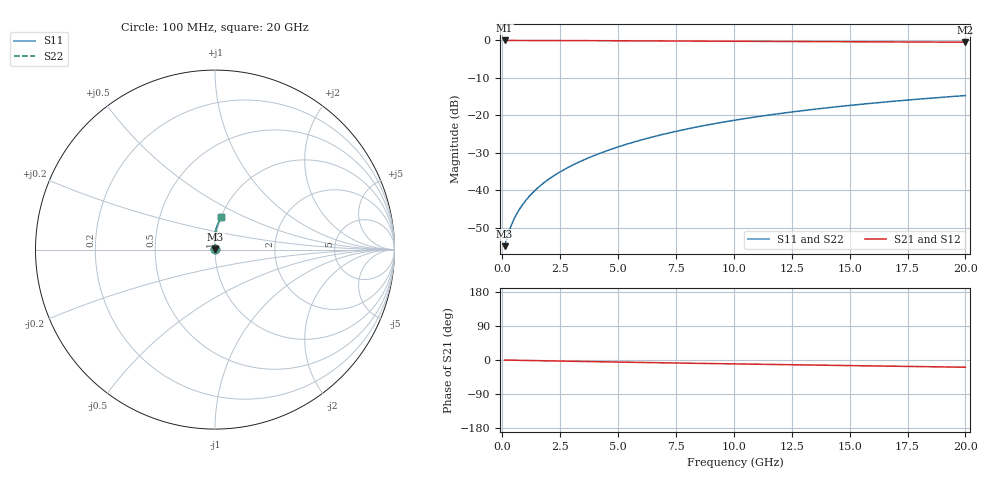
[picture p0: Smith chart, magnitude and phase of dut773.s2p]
! Touchstone file exported from HFSS 2024.1.0
!  File:  C:/UserFiles/LocalFiles/RDL_TSV_Batchsim/temp_RDL_bottom_773_1779860729.aedt
!  Generated:  01:48:12 PM May 27, 2026
!  Design:  RDL_bottom
!  Project:  temp_RDL_bottom_773_1779860729
!  Setup:  Setup1
!  Solution:  Sweep
! Variables:
!  dtsv = 10.80580581um
!  hbump = 3um
!  htsv = 72.25um
!  ldown = 248.68um
!  lrdl = 100um
!  p = 40
!  p1 = 52.08um
!  rhole = 1um
!  t = 450um
!  tdown = 2.45um
!  trdl = 3.915915916um
!  wdown = 29.21um
!  wrdl = 20um
# GHz S MA R 50.000000
! Terminal data exported
! Port[1] = RDL1_T1
! Port[2] = RDL1_T2
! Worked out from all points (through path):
!   200 points, 100 MHz to 20 GHz, reference 50 ohm
!   highest |S21| = -0.01 dB at 100 MHz (marker M1); lowest = -0.5 dB at 20 GHz (marker M2)
!   group delay of S21, straight-line fit = 2.61 ps
!   lowest |S11| = -54.9 dB at 100 MHz (marker M3), VSWR 1.00, Z = 50.2 + j0.0801 ohm
!   |S11| at or under -10 dB: start of sweep to end of sweep
!   |S22| runs from -54.9 to -14.7 dB; largest |S21 - S12| = 2.1e-15
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0.1  0.001801 26.3  0.9984 -0.1  0.9984 -0.1  0.001801 26.3
! Gamma 0 0 0 0
! Port Impedance 50 0 50 0
0.3  0.002879 52.7  0.9982 -0.4  0.9982 -0.4  0.002879 52.7
0.4  0.003486 58.9  0.9981 -0.5  0.9981 -0.5  0.003486 58.9
0.5  0.004099 63.3  0.998 -0.6  0.998 -0.6  0.004099 63.3
0.6  0.004717 66.8  0.9979 -0.7  0.9979 -0.7  0.004717 66.8
0.8  0.005971 71.9  0.9977 -0.9  0.9977 -0.9  0.005971 71.9
1  0.007254 75.5  0.9974 -1.2  0.9974 -1.2  0.007254 75.5
1.2  0.008564 78.3  0.9972 -1.4  0.9972 -1.4  0.008564 78.3
1.7  0.01195 83.0  0.9965 -1.9  0.9965 -1.9  0.01195 83.0
2.2  0.01547 86.0  0.9957 -2.5  0.9957 -2.5  0.01547 86.0
2.8  0.01989 88.5  0.9945 -3.2  0.9945 -3.2  0.01989 88.5
3.5  0.02532 90.4  0.9929 -3.9  0.9929 -3.9  0.02532 90.4
4.2  0.03105 91.7  0.991 -4.7  0.991 -4.7  0.03105 91.7
5  0.03794 92.4  0.9887 -5.5  0.9887 -5.5  0.03794 92.5
5.9  0.04605 92.7  0.986 -6.4  0.986 -6.4  0.04605 92.7
6.8  0.05449 92.6  0.9832 -7.3  0.9832 -7.3  0.05449 92.6
8.4  0.07002 91.6  0.9783 -8.8  0.9783 -8.8  0.07002 91.6
10.1  0.08694 90.0  0.9733 -10.4  0.9733 -10.4  0.08694 90.0
11.7  0.103 88.3  0.9687 -11.8  0.9687 -11.8  0.103 88.3
13.4  0.12 86.3  0.964 -13.3  0.964 -13.3  0.12 86.3
16.7  0.1524 82.5  0.9552 -16.2  0.9552 -16.2  0.1524 82.5
20  0.1838 78.8  0.9465 -19.1  0.9465 -19.1  0.1838 78.8
